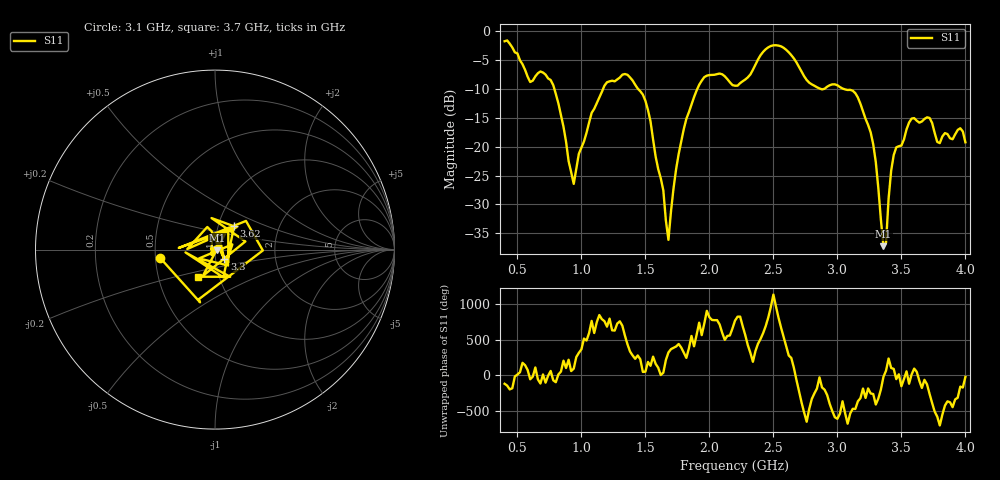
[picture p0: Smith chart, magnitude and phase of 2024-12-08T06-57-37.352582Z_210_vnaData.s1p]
!Created with skrf (http://scikit-rf.org).
# Hz S RI R 50.0
!freq ReS11 ImS11
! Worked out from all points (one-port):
!   181 points, 400 MHz to 4 GHz, reference 50 ohm
!   lowest |S11| = -37.2 dB at 3.36 GHz (marker M1), VSWR 1.03, Z = 51.3 - j0.427 ohm
!   |S11| at or under -10 dB: 788.7 MHz to 1.169 GHz (380.6 MHz wide, 38.9 % of centre); 1.443 GHz to 1.905 GHz (462.4 MHz wide, 27.6 % of centre); 3.05 GHz to end of sweep (the widest 3 of 4)
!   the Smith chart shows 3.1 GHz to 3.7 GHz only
!   S11 on the Smith chart (normalised r, x): 3.1 GHz: 0.53, -0.05; 3.3 GHz: 1.10, -0.12; 3.62 GHz: 1.19, +0.32; 3.7 GHz: 0.79, -0.25
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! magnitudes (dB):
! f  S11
! 400 MHz  -1.7
! 600 MHz  -8.8
! 760 MHz  -8.5
! 860 MHz  -16.5
! 940 MHz  -26.4
! 1.08 GHz  -14.1
! 1.3 GHz  -8.0
! 1.5 GHz  -12.0
! 1.64 GHz  -27.6
! 1.68 GHz  -36.1
! 1.76 GHz  -21.2
! 1.96 GHz  -7.9
! 2.2 GHz  -9.4
! 2.48 GHz  -2.6
! 2.66 GHz  -4.7
! 2.84 GHz  -9.7
! 3.1 GHz  -10.2
! 3.24 GHz  -16.2
! 3.3 GHz  -22.7
! 3.36 GHz  -37.2
! 3.38 GHz  -36.6
! 3.4 GHz  -29.0
! 3.44 GHz  -21.5
! 3.56 GHz  -15.8
! 3.62 GHz  -15.5
! 3.7 GHz  -14.9
! 3.78 GHz  -19.2
! 4 GHz  -19.2
